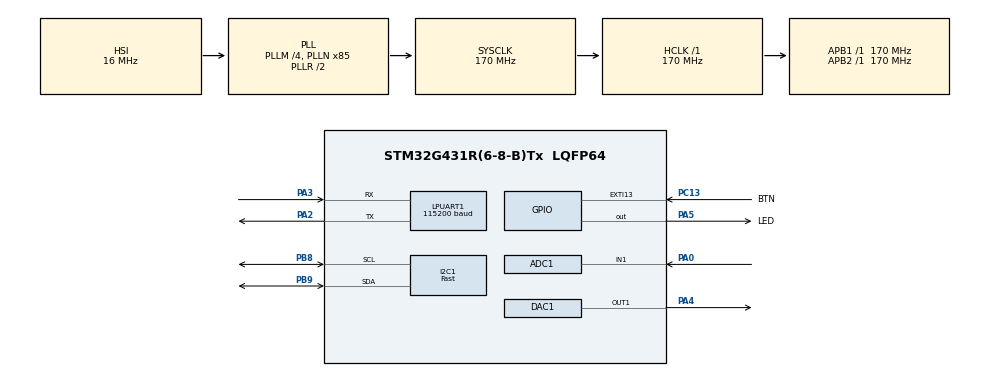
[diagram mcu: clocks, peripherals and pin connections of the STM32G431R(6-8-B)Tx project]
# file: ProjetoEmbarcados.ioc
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ADC1.Channel-0\#ChannelRegularConversion=ADC_CHANNEL_1
ADC1.DMAContinuousRequests=ENABLE
ADC1.ExternalTrigConv=ADC_EXTERNALTRIG_T2_TRGO
ADC1.NbrOfConversionFlag=1
ADC1.OffsetNumber-0\#ChannelRegularConversion=ADC_OFFSET_NONE
ADC1.Rank-0\#ChannelRegularConversion=1
ADC1.SamplingTime-0\#ChannelRegularConversion=ADC_SAMPLETIME_47CYCLES_5
ADC1.master=1
DAC1.DAC_Trigger_OUT1-DAC_OUT1_ExtAndInt=DAC_TRIGGER_T6_TRGO
Dma.ADC1.0.Direction=DMA_PERIPH_TO_MEMORY
Dma.ADC1.0.EventEnable=DISABLE
Dma.ADC1.0.Instance=DMA1_Channel2
Dma.ADC1.0.MemDataAlignment=DMA_MDATAALIGN_HALFWORD
Dma.ADC1.0.MemInc=DMA_MINC_ENABLE
Dma.ADC1.0.Mode=DMA_CIRCULAR
Dma.ADC1.0.PeriphDataAlignment=DMA_PDATAALIGN_HALFWORD
Dma.ADC1.0.PeriphInc=DMA_PINC_DISABLE
Dma.ADC1.0.Polarity=HAL_DMAMUX_REQ_GEN_RISING
Dma.ADC1.0.Priority=DMA_PRIORITY_LOW
Dma.ADC1.0.RequestNumber=1
Dma.ADC1.0.SignalID=NONE
Dma.ADC1.0.SyncEnable=DISABLE
Dma.ADC1.0.SyncPolarity=HAL_DMAMUX_SYNC_NO_EVENT
Dma.ADC1.0.SyncRequestNumber=1
Dma.ADC1.0.SyncSignalID=NONE
Dma.LPUART1_TX.1.Direction=DMA_MEMORY_TO_PERIPH
Dma.LPUART1_TX.1.EventEnable=DISABLE
Dma.LPUART1_TX.1.Instance=DMA1_Channel3
Dma.LPUART1_TX.1.MemDataAlignment=DMA_MDATAALIGN_BYTE
Dma.LPUART1_TX.1.MemInc=DMA_MINC_ENABLE
Dma.LPUART1_TX.1.Mode=DMA_NORMAL
Dma.LPUART1_TX.1.PeriphDataAlignment=DMA_PDATAALIGN_BYTE
Dma.LPUART1_TX.1.PeriphInc=DMA_PINC_DISABLE
Dma.LPUART1_TX.1.Polarity=HAL_DMAMUX_REQ_GEN_RISING
Dma.LPUART1_TX.1.Priority=DMA_PRIORITY_LOW
Dma.LPUART1_TX.1.RequestNumber=1
Dma.LPUART1_TX.1.SignalID=NONE
Dma.LPUART1_TX.1.SyncEnable=DISABLE
Dma.LPUART1_TX.1.SyncPolarity=HAL_DMAMUX_SYNC_NO_EVENT
Dma.LPUART1_TX.1.SyncRequestNumber=1
Dma.LPUART1_TX.1.SyncSignalID=NONE
Dma.Request0=ADC1
Dma.Request1=LPUART1_TX
FREERTOS.Tasks01=defaultTask,24,128,StartDefaultTask,Default,NULL,Dynamic,NULL,NULL;FFTTask,40,512,StartFFTTask,Default,NULL,Dynamic,NULL,NULL;ButtonTask,32,128,StartButtonTask,Default,NULL,Dynamic,NULL,NULL;ShellTask,16,256,StartShellTask,Default,NULL,Dynamic,NULL,NULL;DisplayTask,8,256,StartDisplayTast,Default,NULL,Dynamic,NULL,NULL;LedTask,8,128,StartLedTask,Default,NULL,Dynamic,NULL,NULL
FREERTOS.configGENERATE_RUN_TIME_STATS=1
FREERTOS.configTOTAL_HEAP_SIZE=10240
FREERTOS.configUSE_NEWLIB_REENTRANT=1
FREERTOS.configUSE_STATS_FORMATTING_FUNCTIONS=0
I2C1.I2C_Speed_Mode=I2C_Fast
I2C1.Timing=0x40621236
LPUART1.BaudRate=115200
Mcu.Family=STM32G4
Mcu.Name=STM32G431R(6-8-B)Tx
Mcu.Package=LQFP64
NVIC.DMA1_Channel2_IRQn=true\:5\:0\:false\:false\:true\:true\:false\:true\:true
NVIC.DMA1_Channel3_IRQn=true\:5\:0\:false\:false\:true\:true\:false\:true\:true
NVIC.EXTI15_10_IRQn=true\:5\:0\:false\:false\:true\:true\:true\:true\:true
NVIC.I2C1_ER_IRQn=true\:5\:0\:false\:false\:true\:true\:true\:true\:true
NVIC.I2C1_EV_IRQn=true\:5\:0\:false\:false\:true\:true\:true\:true\:true
NVIC.LPUART1_IRQn=true\:5\:0\:false\:false\:true\:true\:true\:true\:true
NVIC.PriorityGroup=NVIC_PRIORITYGROUP_4
NVIC.TIM6_DAC_IRQn=true\:5\:0\:false\:false\:true\:true\:true\:true\:true
NVIC.TIM7_IRQn=true\:15\:0\:false\:false\:true\:false\:false\:true\:true
NVIC.TimeBase=TIM7_IRQn
NVIC.TimeBaseIP=TIM7
PA0.Mode=IN1-Single-Ended
PA0.Signal=ADC1_IN1
PA13.Mode=Serial_Wire
PA13.Signal=SYS_JTMS-SWDIO
PA14.Mode=Serial_Wire
PA14.Signal=SYS_JTCK-SWCLK
PA2.Mode=Asynchronous
PA2.Signal=LPUART1_TX
PA3.Mode=Asynchronous
PA3.Signal=LPUART1_RX
PA4.Signal=COMP_DAC11_group
PA5.GPIO_Label=LED
PA5.Signal=GPIO_Output
PB8-BOOT0.Mode=I2C
PB8-BOOT0.Signal=I2C1_SCL
PB9.Mode=I2C
PB9.Signal=I2C1_SDA
PC13.GPIO_Label=BTN
PC13.Signal=GPXTI13
ProjectManager.HeapSize=0x200
ProjectManager.StackSize=0x400
ProjectManager.TargetToolchain=STM32CubeIDE
RCC.ADC12Freq_Value=170000000
RCC.AHBFreq_Value=170000000
RCC.APB1Freq_Value=170000000
RCC.APB1TimFreq_Value=170000000
RCC.APB2Freq_Value=170000000
RCC.APB2TimFreq_Value=170000000
RCC.CortexFreq_Value=170000000
RCC.EXTERNAL_CLOCK_VALUE=12288000
RCC.HCLKFreq_Value=170000000
RCC.HSE_VALUE=8000000
RCC.HSI48_VALUE=48000000
RCC.HSI_VALUE=16000000
RCC.LSE_VALUE=32768
RCC.PLLM=RCC_PLLM_DIV4
RCC.PLLN=85
RCC.SYSCLKFreq_VALUE=170000000
RCC.SYSCLKSource=RCC_SYSCLKSOURCE_PLLCLK
RCC.USBFreq_Value=170000000
RCC.VCOOutputFreq_Value=340000000
SH.COMP_DAC11_group.0=DAC1_OUT1,DAC_OUT1_ExtAndInt
TIM2.PeriodNoDither=99
TIM2.Prescaler=169
TIM2.TIM_MasterOutputTrigger=TIM_TRGO_UPDATE
TIM6.PeriodNoDither=7
TIM6.Prescaler=169
TIM6.TIM_MasterOutputTrigger=TIM_TRGO_UPDATE
VP_FREERTOS_VS_CMSIS_V2.Mode=CMSIS_V2
VP_SYS_VS_DBSignals.Mode=DisableDeadBatterySignals
VP_SYS_VS_tim7.Mode=TIM7
VP_TIM2_VS_ClockSourceINT.Mode=Internal
VP_TIM6_VS_ClockSourceINT.Mode=Enable_Timer
board=custom

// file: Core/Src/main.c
/* USER CODE BEGIN Header */
/**
  ******************************************************************************
  * @file           : main.c
  * @brief          : Main program body
  ******************************************************************************
  * @attention
  *
  * Copyright (c) 2026 STMicroelectronics.
  * All rights reserved.
  *
  * This software is licensed under terms that can be found in the LICENSE file
  * in the root directory of this software component.
  * If no LICENSE file comes with this software, it is provided AS-IS.
  *
  ******************************************************************************
  */
/* USER CODE END Header */
#include "main.h"
#include "cmsis_os.h"
#include "adc.h"
#include "dac.h"
#include "dma.h"
#include "i2c.h"
#include "usart.h"
#include "tim.h"
#include "gpio.h"

/* USER CODE BEGIN Includes */
#include <math.h>
#include "arm_math.h"
#include "FreeRTOS.h"   /* FreeRTOS puro: vTaskStartScheduler */
#include "task.h"
/* USER CODE END Includes */

/* USER CODE BEGIN PD */
#define SINE_TABLE_LENGTH  (100U)   /* Amostras por ciclo do seno */
/* USER CODE END PD */

/* USER CODE BEGIN PV */
/* Tabela de seno preenchida pelo micro no boot.
 * static/global (MISRA 20.4: sem heap). Nao e const: escrita em runtime. */
uint16_t sine_table[SINE_TABLE_LENGTH] = { 0U };
/* USER CODE END PV */

void SystemClock_Config(void);
void MX_FREERTOS_Init(void);

/* USER CODE BEGIN 0 */
/* Preenche a tabela com um sinal COMPOSTO: soma de dois senos.
 *   f1 = 1250 Hz  -> 1 ciclo na tabela  (fundamental)
 *   f2 = 2500 Hz  -> 2 ciclos na tabela (2o harmonico)
 * Como a tabela e lida em loop a 125 kHz sobre N amostras, ela
 * representa exatamente 1 ciclo de f1; usar um MULTIPLO INTEIRO de f1
 * garante que o loop emende sem descontinuidade (sem vazamento na FFT).
 *
 *   amostra[i] = round( 2047.5 * (1 + A1*sin(w) + A2*sin(2*w)) ),  w = 2*pi*i/N
 *
 * A1 = A2 = 0.45 -> parte AC no pior caso = 0.9 -> faixa ~[205..3890],
 * dentro de 0..4095 (12 bits) com margem, sem saturar o DAC.          */
#define SINE_AMPL_F1   (0.45f)   /* amplitude do tom de 1250 Hz */
#define SINE_AMPL_F2   (0.45f)   /* amplitude do tom de 2500 Hz */
static void SineTable_Init(void)
{
    uint32_t i     = 0U;
    float    angle = 0.0f;
    float    value = 0.0f;

    for (i = 0U; i < SINE_TABLE_LENGTH; i++)
    {
        angle = (2.0f * 3.14159265358979f * (float)i)
                / (float)SINE_TABLE_LENGTH;
        value = 2047.5f * (1.0f
                           + (SINE_AMPL_F1 * sinf(angle))
                           + (SINE_AMPL_F2 * sinf(2.0f * angle)));
        sine_table[i] = (uint16_t)(value + 0.5f);  /* +0.5 = arredondar */
    }
}

volatile uint32_t runtime_counter = 0U;

void configureTimerForRunTimeStats(void)
{
    runtime_counter = 0U;
}

uint32_t getRunTimeCounterValue(void)
{
    return runtime_counter;
}
/* USER CODE END 0 */

int main(void)
{

  /* MCU Configuration--------------------------------------------------------*/

  /* Reset of all peripherals, Initializes the Flash interface and the Systick. */
  HAL_Init();

  /* Configure the system clock */
  SystemClock_Config();

  /* Initialize all configured peripherals */
  MX_GPIO_Init();
  MX_DMA_Init();
  MX_DAC1_Init();
  MX_TIM6_Init();
  MX_ADC1_Init();
  MX_TIM2_Init();
  MX_LPUART1_UART_Init();
  MX_I2C1_Init();
  /* USER CODE BEGIN 2 */
  /* Gera a tabela antes de ligar o DAC, para o DMA ja achar os dados. */
  SineTable_Init();

  /* Inicia o DAC canal 1 com DMA circular lendo a tabela de seno.
   * O cast (uint32_t*) e exigencia da HAL; o DAC apenas LE a tabela. */

  /* USER CODE END 2 */

  /* Cria as tasks/objetos e inicia o escalonador (FreeRTOS puro).
   * Nao ha osKernelInitialize; vTaskStartScheduler faz a partida.  */
  MX_FREERTOS_Init();

  /* Start scheduler */
  vTaskStartScheduler();

  /* We should never get here as control is now taken by the scheduler */

  /* Infinite loop */
  while (1)
  {

  }
}

void SystemClock_Config(void)
{
  RCC_OscInitTypeDef RCC_OscInitStruct = {0};
  RCC_ClkInitTypeDef RCC_ClkInitStruct = {0};

  /** Configure the main internal regulator output voltage
  */
  HAL_PWREx_ControlVoltageScaling(PWR_REGULATOR_VOLTAGE_SCALE1_BOOST);

  /** Initializes the RCC Oscillators according to the specified parameters
  * in the RCC_OscInitTypeDef structure.
  */
  RCC_OscInitStruct.OscillatorType = RCC_OSCILLATORTYPE_HSI;
  RCC_OscInitStruct.HSIState = RCC_HSI_ON;
  RCC_OscInitStruct.HSICalibrationValue = RCC_HSICALIBRATION_DEFAULT;
  RCC_OscInitStruct.PLL.PLLState = RCC_PLL_ON;
  RCC_OscInitStruct.PLL.PLLSource = RCC_PLLSOURCE_HSI;
  RCC_OscInitStruct.PLL.PLLM = RCC_PLLM_DIV4;
  RCC_OscInitStruct.PLL.PLLN = 85;
  RCC_OscInitStruct.PLL.PLLP = RCC_PLLP_DIV2;
  RCC_OscInitStruct.PLL.PLLQ = RCC_PLLQ_DIV2;
  RCC_OscInitStruct.PLL.PLLR = RCC_PLLR_DIV2;
  if (HAL_RCC_OscConfig(&RCC_OscInitStruct) != HAL_OK)
  {
    Error_Handler();
  }

  /** Initializes the CPU, AHB and APB buses clocks
  */
  RCC_ClkInitStruct.ClockType = RCC_CLOCKTYPE_HCLK|RCC_CLOCKTYPE_SYSCLK
                              |RCC_CLOCKTYPE_PCLK1|RCC_CLOCKTYPE_PCLK2;
  RCC_ClkInitStruct.SYSCLKSource = RCC_SYSCLKSOURCE_PLLCLK;
  RCC_ClkInitStruct.AHBCLKDivider = RCC_SYSCLK_DIV1;
  RCC_ClkInitStruct.APB1CLKDivider = RCC_HCLK_DIV1;
  RCC_ClkInitStruct.APB2CLKDivider = RCC_HCLK_DIV1;

  if (HAL_RCC_ClockConfig(&RCC_ClkInitStruct, FLASH_LATENCY_4) != HAL_OK)
  {
    Error_Handler();
  }
}

void HAL_TIM_PeriodElapsedCallback(TIM_HandleTypeDef *htim)
{
  /* USER CODE BEGIN Callback 0 */
	runtime_counter++;
  /* USER CODE END Callback 0 */
  if (htim->Instance == TIM7)
  {
    HAL_IncTick();
  }
  /* USER CODE BEGIN Callback 1 */
  if (htim->Instance == TIM6)
  {
      static uint32_t idx = 0U;
      HAL_DAC_SetValue(&hdac1, DAC_CHANNEL_1, DAC_ALIGN_12B_R, sine_table[idx]);
      idx++;
      if (idx >= SINE_TABLE_LENGTH)
      {
          idx = 0U;
      }
  }
  /* USER CODE END Callback 1 */
}

void Error_Handler(void)
{
  __disable_irq();
  while (1)
  {
  }
}

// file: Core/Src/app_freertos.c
/* USER CODE BEGIN Header */
/**
  ******************************************************************************
  * File Name          : app_freertos.c
  * Description        : Code for freertos applications
  ******************************************************************************
  * @attention
  *
  * Copyright (c) 2026 STMicroelectronics.
  * All rights reserved.
  *
  * This software is licensed under terms that can be found in the LICENSE file
  * in the root directory of this software component.
  * If no LICENSE file comes with this software, it is provided AS-IS.
  *
  ******************************************************************************
  */
/* USER CODE END Header */

#include "FreeRTOS.h"
#include "task.h"
#include "main.h"
#include "cmsis_os.h"

/* USER CODE BEGIN Includes */
#include "arm_math.h"   /* CMSIS-DSP: FFT */
#include "adc.h"        /* hadc1 */
#include "tim.h"        /* htim2 */
#include "dac.h"
extern uint16_t sine_table[100];
#include "usart.h"    /* hlpuart1 */
#include <string.h>   /* strcmp */
#include "ssd1306.h"
#include "stream_buffer.h"   /* buffer de fluxo para a impressao centralizada */
#include "timers.h"          /* software timers (FreeRTOS puro) */
#include "semphr.h"          /* semaforos e mutex (FreeRTOS puro) */
/* USER CODE END Includes */

/* USER CODE BEGIN PD */
/* USER CODE BEGIN PD */
#define FFT_LENGTH         (512U)
#define ADC_BUFFER_LENGTH  (2U * FFT_LENGTH)
#define SAMPLE_RATE_HZ     (10000.0f)
#define SHELL_BUFFER_SIZE  (64U)
/* USER CODE END PD */

/* USER CODE BEGIN Variables */
/* Buffer do ADC, preenchido pelo DMA circular (ping-pong). */
static uint16_t adc_buffer[ADC_BUFFER_LENGTH] = { 0U };
/* Periodo do pisca do LED em ms (alterado pelo botao). */
static volatile uint32_t led_period_ms = 500U;

/* Buffers da FFT. */
static float32_t fft_input[FFT_LENGTH]          = { 0.0f };
static float32_t fft_output[FFT_LENGTH]         = { 0.0f };
static float32_t fft_magnitude[FFT_LENGTH / 2U] = { 0.0f };

/* Instancia da RFFT. */
static arm_rfft_fast_instance_f32 fft_instance;

/* Qual metade esta pronta (0 = baixa, 1 = alta). */
static volatile uint32_t adc_half_ready = 0U;

/* Resultados dos picos, para ver no debugger / shell / display.
 * Pico 1 = menor frequencia, Pico 2 = maior (ordenados para a
 * exibicao ficar estavel, sem trocar de lugar entre iteracoes). */
volatile uint32_t  g_peak_bin      = 0U;
volatile float32_t g_peak_freq_hz  = 0.0f;
volatile uint32_t  g_peak2_bin     = 0U;
volatile float32_t g_peak2_freq_hz = 0.0f;

/* Shell: recepcao por interrupcao, 1 caractere por vez. */
static uint8_t           rx_char = 0U;
static char              shell_line[SHELL_BUFFER_SIZE] = { 0 };
static volatile uint32_t shell_index = 0U;

/* Semaforo binario: a ISR de fim de TX (DMA da LPUART1) libera; a
 * Shell_Print bloqueia (dorme) ate a transmissao terminar. Sem polling. */
static SemaphoreHandle_t uart_tx_sem = NULL;

/* Software timer que pisca o LED (substitui a antiga LedTask). O callback
 * roda na task de timers do FreeRTOS, sem gastar uma task dedicada.     */
static TimerHandle_t     blink_timer = NULL;

/* Software timer one-shot para o debounce do botao (substitui o osDelay).
 * Enquanto button_locked == 1, novos cliques sao ignorados (repiques).  */
static TimerHandle_t     debounce_timer = NULL;
static volatile uint8_t  button_locked  = 0U;

/* Impressao centralizada (estilo do professor):
 *  - qualquer task chama Shell_Print(), que apenas empurra o texto para
 *    um STREAM BUFFER (protegido por um MUTEX contra escritas simultaneas);
 *  - uma unica print_task drena o buffer e transmite pela UART (DMA),
 *    esperando o fim da TX no semaforo. Assim os produtores nao bloqueiam
 *    na UART e as mensagens nunca se embaralham.                         */
static TaskHandle_t         printTaskHandle = NULL;
static StreamBufferHandle_t print_stream    = NULL;
static SemaphoreHandle_t    print_mutex     = NULL;   /* mutex com heranca de prioridade */
/* USER CODE END Variables */
/* Handles das tasks (FreeRTOS puro: xTaskCreate).
 * Prioridades e stacks passados direto na criacao (MX_FREERTOS_Init),
 * entao nao ha mais os structs osThreadAttr_t.                          */
TaskHandle_t defaultTaskHandle;
TaskHandle_t FFTTaskHandle;
TaskHandle_t ButtonTaskHandle;
TaskHandle_t ShellTaskHandle;
TaskHandle_t DisplayTaskHandle;
TaskHandle_t LedTaskHandle;

/* USER CODE BEGIN FunctionPrototypes */
static void U32_ToStr(uint32_t value, char *out);
static void Shell_Print(const char *text);
static void BlinkTimer_Callback(TimerHandle_t xTimer);
static void DebounceTimer_Callback(TimerHandle_t xTimer);
void StartPrintTask(void *argument);
/* USER CODE END FunctionPrototypes */

void StartDefaultTask(void *argument);
void StartFFTTask(void *argument);
void StartButtonTask(void *argument);
void StartShellTask(void *argument);
void StartDisplayTast(void *argument);
void StartLedTask(void *argument);

void MX_FREERTOS_Init(void); /* (MISRA C 2004 rule 8.1) */

/* Hook prototypes */
void configureTimerForRunTimeStats(void);
unsigned long getRunTimeCounterValue(void);

/* USER CODE BEGIN 1 */
/* Functions needed when configGENERATE_RUN_TIME_STATS is on */
__weak void configureTimerForRunTimeStats(void)
{

}

__weak unsigned long getRunTimeCounterValue(void)
{
return 0;
}
/* USER CODE END 1 */

void MX_FREERTOS_Init(void) {

  /* USER CODE BEGIN RTOS_MUTEX */
  /* Mutex que protege as escritas no stream buffer de impressao.
   * xSemaphoreCreateMutex ja tem heranca de prioridade embutida.  */
  print_mutex = xSemaphoreCreateMutex();
  /* USER CODE END RTOS_MUTEX */

  /* USER CODE BEGIN RTOS_SEMAPHORES */
  /* Binario, inicia "vazio": o 1o take so libera quando a ISR de fim de
   * TX fizer o 1o give.                                                 */
  uart_tx_sem = xSemaphoreCreateBinary();
  /* USER CODE END RTOS_SEMAPHORES */

  /* USER CODE BEGIN RTOS_TIMERS */
  /* Timer periodico que pisca o LED (no lugar da LedTask). Comeca a
   * 500 ms; o botao troca o periodo (100/500 ms) via xTimerChangePeriod.
   * pdTRUE = auto-reload (periodico).                                    */
  blink_timer = xTimerCreate("blink", pdMS_TO_TICKS(led_period_ms),
                             pdTRUE, NULL, BlinkTimer_Callback);
  if (blink_timer != NULL)
  {
      (void)xTimerStart(blink_timer, 0U);
  }

  /* One-shot do debounce (pdFALSE = sem auto-reload); criado parado, o
   * clique e que o dispara com xTimerStart.                             */
  debounce_timer = xTimerCreate("debounce", pdMS_TO_TICKS(200U),
                                pdFALSE, NULL, DebounceTimer_Callback);
  /* USER CODE END RTOS_TIMERS */

  /* USER CODE BEGIN RTOS_QUEUES */
  /* Stream buffer de 256 bytes; nivel de disparo 1 (acorda a print_task
   * assim que houver ao menos 1 byte).                                  */
  print_stream = xStreamBufferCreate(256U, 1U);
  /* USER CODE END RTOS_QUEUES */

  /* Create the thread(s) -- FreeRTOS puro.
   * xTaskCreate(func, nome, stack EM PALAVRAS, param, prioridade, &handle).
   * Prioridades preservam a ordem do .ioc (8..40); stack em palavras = o
   * numero que antes vinha antes do "*4".                                */
  (void)xTaskCreate(StartDefaultTask, "defaultTask", 128, NULL, 24, &defaultTaskHandle);
  (void)xTaskCreate(StartFFTTask,     "FFTTask",     512, NULL, 40, &FFTTaskHandle);
  (void)xTaskCreate(StartButtonTask,  "ButtonTask",  128, NULL, 32, &ButtonTaskHandle);
  (void)xTaskCreate(StartShellTask,   "ShellTask",   256, NULL, 16, &ShellTaskHandle);
  (void)xTaskCreate(StartDisplayTast, "DisplayTask", 256, NULL,  8, &DisplayTaskHandle);

  /* LedTask removida: o LED e piscado pelo software timer blink_timer. */
  (void)LedTaskHandle;

  /* USER CODE BEGIN RTOS_THREADS */
  /* print_task: unica dona da UART de saida; drena o stream buffer. */
  (void)xTaskCreate(StartPrintTask, "printTask", 128, NULL, 8, &printTaskHandle);
  /* USER CODE END RTOS_THREADS */

}

void StartDefaultTask(void *argument)
{
  /* USER CODE BEGIN StartDefaultTask */
  /* Infinite loop */
  for(;;)
  {
    vTaskDelay(pdMS_TO_TICKS(1));
  }
  /* USER CODE END StartDefaultTask */
}

void StartFFTTask(void *argument)
{
  /* USER CODE BEGIN StartFFTTask */
	  uint32_t   i         = 0U;
	  uint32_t   offset    = 0U;
	  uint32_t   idx1      = 0U;   /* bin do pico mais forte           */
	  uint32_t   idx2      = 0U;   /* bin do 2o pico mais forte        */
	  uint32_t   bin_lo    = 0U;   /* pico de menor frequencia         */
	  uint32_t   bin_hi    = 0U;   /* pico de maior frequencia         */
	  uint32_t   dist      = 0U;   /* distancia (em bins) ate idx1     */
	  float32_t  max1      = 0.0f;
	  float32_t  max2      = 0.0f;
	  arm_status status    = ARM_MATH_SUCCESS;

	  /* Inicializa a FFT (uma vez). */
	  status = arm_rfft_fast_init_f32(&fft_instance, (uint16_t)FFT_LENGTH);
	  if (status != ARM_MATH_SUCCESS)
	  {
	      Error_Handler();
	  }
	  else
	  {
	      /* Liga TIM2 e ADC em DMA circular (kernel ja rodando). */
	      if (HAL_TIM_Base_Start(&htim2) != HAL_OK)
	      {
	          Error_Handler();
	      }
	      else if (HAL_ADCEx_Calibration_Start(&hadc1, ADC_SINGLE_ENDED) != HAL_OK)
	      {
	    	  Error_Handler();
	      }
	      else if (HAL_ADC_Start_DMA(&hadc1, (uint32_t *)adc_buffer,
								   (uint32_t)ADC_BUFFER_LENGTH) != HAL_OK)
	      {
	    	  Error_Handler();
	      }
	      else
	      {
	          /* ok */
	      }
	  }

	  if (HAL_DAC_Start(&hdac1, DAC_CHANNEL_1) != HAL_OK)
	  {
	      Error_Handler();
	  }

	  if (HAL_TIM_Base_Start_IT(&htim6) != HAL_OK)
	  {
	      Error_Handler();
	  }

	  for(;;)
	  {
	    /* Espera o callback (sem polling). */
	    (void)ulTaskNotifyTake(pdTRUE, portMAX_DELAY);

	    /* Escolhe a metade pronta. */
	    if (adc_half_ready == 0U)
	    {
	        offset = 0U;
	    }
	    else
	    {
	        offset = FFT_LENGTH;
	    }

	    /* Converte uint16 -> float. */
	    for (i = 0U; i < FFT_LENGTH; i++)
	    {
	        fft_input[i] = (float32_t)adc_buffer[offset + i];
	    }

	    /* FFT + magnitude. */
	    arm_rfft_fast_f32(&fft_instance, fft_input, fft_output, (uint8_t)0U);
	    arm_cmplx_mag_f32(fft_output, fft_magnitude, (FFT_LENGTH / 2U));

	    /* 1o pico: maior magnitude, ignorando o bin 0 (DC). */
	    max1 = 0.0f;
	    idx1 = 0U;
	    for (i = 1U; i < (FFT_LENGTH / 2U); i++)
	    {
	        if (fft_magnitude[i] > max1)
	        {
	            max1 = fft_magnitude[i];
	            idx1 = i;
	        }
	        else
	        {
	            /* nao e novo maximo */
	        }
	    }

	    /* 2o pico: maior magnitude fora de uma janela de +-2 bins em
	     * volta do 1o, para nao pegar um bin vizinho do mesmo tom.   */
	    max2 = 0.0f;
	    idx2 = 0U;
	    for (i = 1U; i < (FFT_LENGTH / 2U); i++)
	    {
	        dist = (i > idx1) ? (i - idx1) : (idx1 - i);
	        if ((dist > 2U) && (fft_magnitude[i] > max2))
	        {
	            max2 = fft_magnitude[i];
	            idx2 = i;
	        }
	        else
	        {
	            /* dentro da janela do 1o pico ou nao e maximo */
	        }
	    }

	    /* Ordena por frequencia (menor primeiro) para exibicao estavel,
	     * MAS so troca se o 2o pico existir de fato (max2 > 0). Assim, se
	     * o 2o pico nao for encontrado (idx2 == 0, ex.: durante uma queda
	     * de sinal), o pico principal (idx1) nunca aparece como 0 Hz.   */
	    if ((max2 > 0.0f) && (idx2 < idx1))
	    {
	        bin_lo = idx2;
	        bin_hi = idx1;
	    }
	    else
	    {
	        bin_lo = idx1;
	        bin_hi = idx2;
	    }

	    g_peak_bin      = bin_lo;
	    g_peak_freq_hz  = ((float32_t)bin_lo * SAMPLE_RATE_HZ)
	                      / (float32_t)FFT_LENGTH;
	    g_peak2_bin     = bin_hi;
	    g_peak2_freq_hz = ((float32_t)bin_hi * SAMPLE_RATE_HZ)
	                      / (float32_t)FFT_LENGTH;
	  }
  /* USER CODE END StartFFTTask */
}

void StartButtonTask(void *argument)
{
  /* USER CODE BEGIN StartButtonTask */
	  /* Espera o clique (notificado pela ISR do EXTI). Sem polling. */
	  for(;;)
	  {
	    (void)ulTaskNotifyTake(pdTRUE, portMAX_DELAY);

	    /* Debounce por timer one-shot: durante a janela (button_locked),
	     * ignora os repiques do clique. Substitui o antigo osDelay(200),
	     * entao a task nao fica mais bloqueada esperando o debounce.     */
	    if (button_locked == 0U)
	    {
	        button_locked = 1U;

	        /* Alterna a velocidade do pisca do LED e reprograma o timer. */
	        if (led_period_ms == 500U)
	        {
	            led_period_ms = 100U;
	        }
	        else
	        {
	            led_period_ms = 500U;
	        }
	        if (blink_timer != NULL)
	        {
	            /* Troca o periodo e reinicia o timer do LED. */
	            (void)xTimerChangePeriod(blink_timer,
	                                     pdMS_TO_TICKS(led_period_ms), 0U);
	        }

	        /* Arma o one-shot de 200 ms (periodo ja definido na criacao).
	         * Ao expirar, o callback zera button_locked.                 */
	        if (debounce_timer != NULL)
	        {
	            (void)xTimerStart(debounce_timer, 0U);
	        }
	    }
	    else
	    {
	        /* dentro da janela de debounce: ignora (repique) */
	    }
	  }
  /* USER CODE END StartButtonTask */
}

void StartShellTask(void *argument)
{
  /* USER CODE BEGIN StartShellTask */
	  char numbuf[12];

	  (void)HAL_UART_Receive_IT(&hlpuart1, &rx_char, 1U);
	  Shell_Print("\r\nShell pronto. Digite 'help'.\r\n> ");

	  for(;;)
	  {
	    (void)ulTaskNotifyTake(pdTRUE, portMAX_DELAY);

	    if (strcmp(shell_line, "help") == 0)
	    {
	    	Shell_Print("Comandos: help, fft, heap, tasks, runtime\r\n");
	    }
	    else if (strcmp(shell_line, "fft") == 0)
	    {
	        Shell_Print("Pico 1: bin=");
	        U32_ToStr(g_peak_bin, numbuf);
	        Shell_Print(numbuf);
	        Shell_Print("  freq=");
	        U32_ToStr((uint32_t)g_peak_freq_hz, numbuf);
	        Shell_Print(numbuf);
	        Shell_Print(" Hz\r\n");

	        Shell_Print("Pico 2: bin=");
	        U32_ToStr(g_peak2_bin, numbuf);
	        Shell_Print(numbuf);
	        Shell_Print("  freq=");
	        U32_ToStr((uint32_t)g_peak2_freq_hz, numbuf);
	        Shell_Print(numbuf);
	        Shell_Print(" Hz\r\n");
	    }
	    else if (strcmp(shell_line, "heap") == 0)
	    {
	        Shell_Print("Heap livre: ");
	        U32_ToStr((uint32_t)xPortGetFreeHeapSize(), numbuf);
	        Shell_Print(numbuf);
	        Shell_Print(" bytes\r\n");
	    }
	    else if (strcmp(shell_line, "tasks") == 0)
		{
			Shell_Print("Tarefas instaladas:\r\n");
			Shell_Print(" FFTTask     (hard, prio alta)\r\n");
			Shell_Print(" ButtonTask  (prio media)\r\n");
			Shell_Print(" ShellTask   (soft)\r\n");
			Shell_Print(" DisplayTask (soft)\r\n");
			Shell_Print(" LedTask     (guia)\r\n");
			Shell_Print("Num de tarefas: ");
			U32_ToStr((uint32_t)uxTaskGetNumberOfTasks(), numbuf);
			Shell_Print(numbuf);
			Shell_Print("\r\n");
		}
	    else if (strcmp(shell_line, "runtime") == 0)
		{
			TaskStatus_t status[8];
			UBaseType_t  count;
			UBaseType_t  k;
			uint32_t     total;

			count = uxTaskGetSystemState(status, 8U, &total);

			Shell_Print("Tarefa\t\tTempo CPU\r\n");
			for (k = 0U; k < count; k++)
			{
				Shell_Print(" ");
				Shell_Print(status[k].pcTaskName);
				Shell_Print("\t");
				U32_ToStr(status[k].ulRunTimeCounter, numbuf);
				Shell_Print(numbuf);
				Shell_Print("\r\n");
			}
		}
	    else if (shell_line[0] == '\0')
	    {
	        /* linha vazia */
	    }
	    else
	    {
	        Shell_Print("Comando desconhecido. Digite 'help'.\r\n");
	    }

	    shell_index = 0U;
	    Shell_Print("> ");
	  }
  /* USER CODE END StartShellTask */
}

void StartDisplayTast(void *argument)
{
  /* USER CODE BEGIN StartDisplayTast */
	  char freq_str[8];

	  /* Inicia o display uma vez. */
	  SSD1306_Init();
	  SSD1306_Clear();
	  SSD1306_WriteString(0U, 0U, "FFT:");

	  for(;;)
	  {
	    /* Pico 1 (menor frequencia) na pagina 2. */
	    U32_ToStr((uint32_t)g_peak_freq_hz, freq_str);
	    SSD1306_WriteString(2U, 0U, "        ");   /* limpa a linha */
	    SSD1306_WriteString(2U, 0U, freq_str);
	    SSD1306_WriteString(2U, 48U, "Hz");

	    /* Pico 2 (maior frequencia) na pagina 4. */
	    U32_ToStr((uint32_t)g_peak2_freq_hz, freq_str);
	    SSD1306_WriteString(4U, 0U, "        ");   /* limpa a linha */
	    SSD1306_WriteString(4U, 0U, freq_str);
	    SSD1306_WriteString(4U, 48U, "Hz");

	    vTaskDelay(pdMS_TO_TICKS(500U));
	  }
  /* USER CODE END StartDisplayTast */
}

void StartLedTask(void *argument)
{
  /* USER CODE BEGIN StartLedTask */
	  /* O LED agora e piscado pelo software timer blink_timer, nao mais por
	   * esta task. Ela nao e criada (ver MX_FREERTOS_Init). Se por acaso for
	   * criada de novo (ex.: apos regenerar no CubeMX), apenas se encerra
	   * para nao conflitar com o timer.                                     */
	  vTaskDelete(NULL);
  /* USER CODE END StartLedTask */
}

/* USER CODE BEGIN Application */
/* Callback do software timer: inverte o LED. Roda na task de timers do
 * FreeRTOS (contexto de task, nao ISR). Substitui a antiga LedTask.    */
static void BlinkTimer_Callback(TimerHandle_t xTimer)
{
    (void)xTimer;
    HAL_GPIO_TogglePin(LED_GPIO_Port, LED_Pin);
}

/* Callback do one-shot de debounce: a janela acabou, aceita o proximo
 * clique. Roda na task de timers do FreeRTOS.                          */
static void DebounceTimer_Callback(TimerHandle_t xTimer)
{
    (void)xTimer;
    button_locked = 0U;
}

/* Converte um uint32 em string decimal. Retorna o tamanho. */
static void U32_ToStr(uint32_t value, char *out)
{
    char     tmp[11];
    uint32_t i = 0U;
    uint32_t j = 0U;

    if (value == 0U)
    {
        out[0] = '0';
        out[1] = '\0';
    }
    else
    {
        while (value > 0U)
        {
            tmp[i] = (char)('0' + (value % 10U));
            value = value / 10U;
            i++;
        }
        while (i > 0U)
        {
            i--;
            out[j] = tmp[i];
            j++;
        }
        out[j] = '\0';
    }
}

/* Task de impressao: unica dona da UART de saida. Fica bloqueada lendo o
 * stream buffer; quando chega texto, transmite por DMA e dorme no semaforo
 * ate a ISR sinalizar o fim. Serializa toda a saida do sistema.          */
void StartPrintTask(void *argument)
{
    static uint8_t txbuf[128];
    size_t         n = 0U;

    (void)argument;

    for (;;)
    {
        /* Bloqueia ate haver bytes (sem polling). Le ate 128 por vez. */
        n = xStreamBufferReceive(print_stream, txbuf, sizeof(txbuf),
                                 portMAX_DELAY);
        if (n > 0U)
        {
            if (HAL_UART_Transmit_DMA(&hlpuart1, txbuf, (uint16_t)n) == HAL_OK)
            {
                /* Espera dormindo o fim da TX (timeout de seguranca). */
                (void)xSemaphoreTake(uart_tx_sem, pdMS_TO_TICKS(100U));
            }
            else
            {
                /* periferico ocupado/erro: descarta este pedaco */
            }
        }
    }
}

/* Enfileira texto para impressao: apenas escreve no stream buffer, sob o
 * mutex (produtores nunca se embaralham). NAO bloqueia na UART -> a task
 * chamadora segue em frente enquanto a print_task transmite.
 * Fallback: se o buffer/mutex nao existirem, transmite direto (bloqueante). */
static void Shell_Print(const char *text)
{
    size_t len = strlen(text);

    if (len == 0U)
    {
        return;
    }

    if ((print_stream != NULL) && (print_mutex != NULL) &&
        (printTaskHandle != NULL))
    {
        (void)xSemaphoreTake(print_mutex, portMAX_DELAY);
        (void)xStreamBufferSend(print_stream, text, len, portMAX_DELAY);
        (void)xSemaphoreGive(print_mutex);
    }
    else
    {
        (void)HAL_UART_Transmit(&hlpuart1, (uint8_t *)text,
                                (uint16_t)len, 100U);
    }
}

/* Fim da transmissao DMA da LPUART1: libera a print_task. Contexto de ISR
 * -> xSemaphoreGiveFromISR + portYIELD_FROM_ISR.                        */
void HAL_UART_TxCpltCallback(UART_HandleTypeDef *huart)
{
    BaseType_t higher_woken = pdFALSE;

    if (huart == &hlpuart1)
    {
        (void)xSemaphoreGiveFromISR(uart_tx_sem, &higher_woken);
        portYIELD_FROM_ISR(higher_woken);
    }
    else
    {
        /* outra UART: ignora */
    }
}

/* Recebe 1 caractere. Monta a linha e, no Enter, acorda a ShellTask. */
void HAL_UART_RxCpltCallback(UART_HandleTypeDef *huart)
{
    BaseType_t higher_woken = pdFALSE;

    if (huart == &hlpuart1)
    {
        if ((rx_char == (uint8_t)'\r') || (rx_char == (uint8_t)'\n'))
        {
            shell_line[shell_index] = '\0';
            vTaskNotifyGiveFromISR(ShellTaskHandle, &higher_woken);
        }
        else
        {
            if (shell_index < (SHELL_BUFFER_SIZE - 1U))
            {
                shell_line[shell_index] = (char)rx_char;
                shell_index++;
            }
            else
            {
                /* buffer cheio: ignora */
            }
        }

        (void)HAL_UART_Receive_IT(&hlpuart1, &rx_char, 1U);
        portYIELD_FROM_ISR(higher_woken);
    }
    else
    {
        /* outra UART: ignora */
    }
}

/* Clique do botao (PC13): acorda a ButtonTask. Contexto de ISR. */
void HAL_GPIO_EXTI_Callback(uint16_t GPIO_Pin)
{
    BaseType_t higher_woken = pdFALSE;

    if (GPIO_Pin == BTN_Pin)
    {
        vTaskNotifyGiveFromISR(ButtonTaskHandle, &higher_woken);
        portYIELD_FROM_ISR(higher_woken);
    }
    else
    {
        /* outro pino: ignora */
    }
}

/* Primeira metade do buffer pronta: acorda a FFTTask. */
void HAL_ADC_ConvHalfCpltCallback(ADC_HandleTypeDef *hadc)
{
    BaseType_t higher_woken = pdFALSE;

    if (hadc == &hadc1)
    {
        adc_half_ready = 0U;
        vTaskNotifyGiveFromISR(FFTTaskHandle, &higher_woken);
        portYIELD_FROM_ISR(higher_woken);
    }
    else
    {
        /* outro ADC: ignora */
    }
}

/* Segunda metade pronta. */
void HAL_ADC_ConvCpltCallback(ADC_HandleTypeDef *hadc)
{
    BaseType_t higher_woken = pdFALSE;

    if (hadc == &hadc1)
    {
        adc_half_ready = 1U;
        vTaskNotifyGiveFromISR(FFTTaskHandle, &higher_woken);
        portYIELD_FROM_ISR(higher_woken);
    }
    else
    {
        /* outro ADC: ignora */
    }
}
/* USER CODE END Application */
